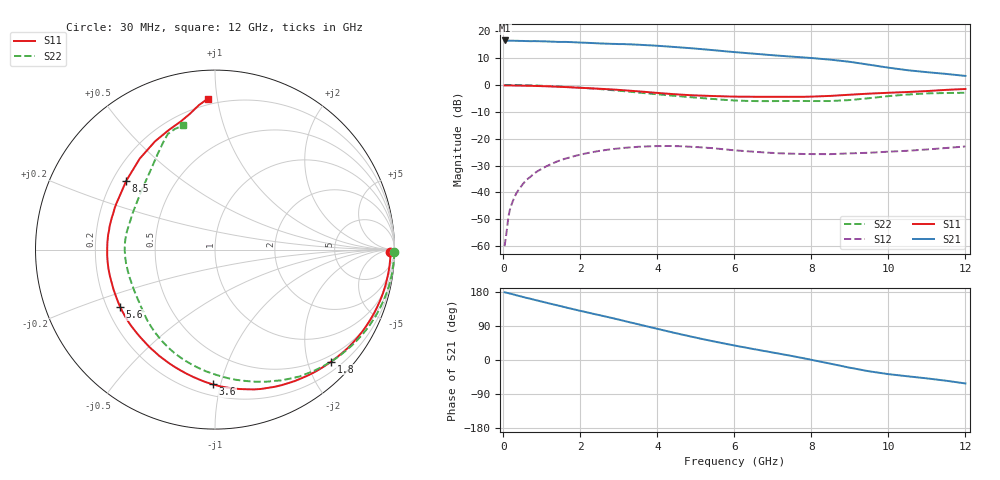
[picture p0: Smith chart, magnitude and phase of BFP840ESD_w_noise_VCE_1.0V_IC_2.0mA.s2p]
! Infineon Technologies  Discrete & RF Semiconductors
! BFP840ESD
! VCE =  1.0 V,  IC =  2.0 mA
! Common Emitter S-Parameters:  May 2012
# GHz  S  MA  R  50
!  f  S11  S21  S12  S22
! GHz  MAG  ANG  MAG  ANG  MAG  ANG  MAG  ANG
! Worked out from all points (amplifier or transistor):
!   93 points, 30 MHz to 12 GHz, reference 50 ohm
!   highest |S21| = 16.6 dB at 30 MHz (marker M1)
!   |S21| within 3 dB of that: start of sweep to 4.965 GHz
!   unconditionally stable (mu >= 1): 6.856 GHz to 11.07 GHz
!   at 1.1 GHz: K = 0.12, MSG = 23.3 dB, |S12| = -30.4 dB
!   at 4.2 GHz: K = 0.39, MSG = 18.6 dB, |S12| = -22.7 dB
!   at 12 GHz: K = 0.73, MSG = 13.1 dB, |S12| = -22.9 dB
!   lowest NFmin = 0.41 dB at 450 MHz
!   S11 on the Smith chart (normalised r, x): 30 MHz: 68, -36; 1.8 GHz: 0.37, -2.43; 3.6 GHz: 0.27, -0.94; 5.6 GHz: 0.25, -0.26; 8.5 GHz: 0.26, +0.32; 12 GHz: 0.16, +0.94
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0.03  0.9774 -0.7  6.725 178.7  0.001 81.5  0.9987 -0.7
0.13  0.9777 -3.2  6.673 176.4  0.0036 92.4  0.9989 -3.1
0.18  0.9768 -4.4  6.648 175.1  0.0052 88.8  0.9975 -4.3
0.5  0.9701 -12.1  6.584 166.6  0.0142 79.6  0.99 -11.8
1.1  0.9444 -26.7  6.458 151.6  0.0303 65.9  0.9597 -25.9
1.8  0.8991 -44.0  6.247 134.4  0.0465 51.6  0.9053 -42.3
2.1  0.8783 -51.3  6.108 127.4  0.0524 45.8  0.8775 -49.3
2.4  0.8564 -58.8  5.975 120.4  0.0577 39.7  0.8493 -56.3
3.1  0.798 -77.2  5.763 104.0  0.0673 26.7  0.7687 -73.2
3.6  0.7505 -91.0  5.55 91.9  0.0709 17.7  0.7116 -86.2
4.1  0.7005 -105.7  5.29 79.8  0.0728 8.9  0.6602 -99.5
4.5  0.6687 -117.7  5.046 70.3  0.0725 2.5  0.6235 -110.1
4.9  0.6427 -129.7  4.807 61.2  0.0705 -3.2  0.5892 -120.0
5.6  0.6172 -148.9  4.339 46.3  0.0648 -10.9  0.5372 -136.2
6.1  0.6051 -161.0  4.034 36.4  0.06 -13.5  0.5107 -147.7
6.7  0.6017 -175.0  3.719 25.1  0.056 -14.6  0.5006 -161.9
7.5  0.6013 167.4  3.364 10.4  0.0526 -13.5  0.5033 179.9
8.5  0.6257 142.2  2.951 -9.8  0.0516 -10.5  0.5019 155.9
9  0.6579 129.6  2.691 -20.4  0.0533 -9.2  0.5237 141.9
9.5  0.6895 119.0  2.379 -29.8  0.0547 -8.6  0.5667 129.6
10.5  0.7387 105.0  1.878 -43.0  0.0596 -8.2  0.6633 115.8
12  0.8407 92.8  1.472 -61.9  0.0717 -10.7  0.7147 104.5
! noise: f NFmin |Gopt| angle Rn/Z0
0.45  0.41  0.76  3  0.37
0.9  0.41  0.76  9  0.33
1.5  0.48  0.75  21  0.28
1.9  0.54  0.74  24  0.26
2.4  0.6  0.68  35  0.23
3.5  0.67  0.55  60  0.18
5.5  0.89  0.38  116  0.13
8  1.18  0.5  -152  0.06
10  1.44  0.57  -112  0.17
12  1.75  0.61  -87  0.3
